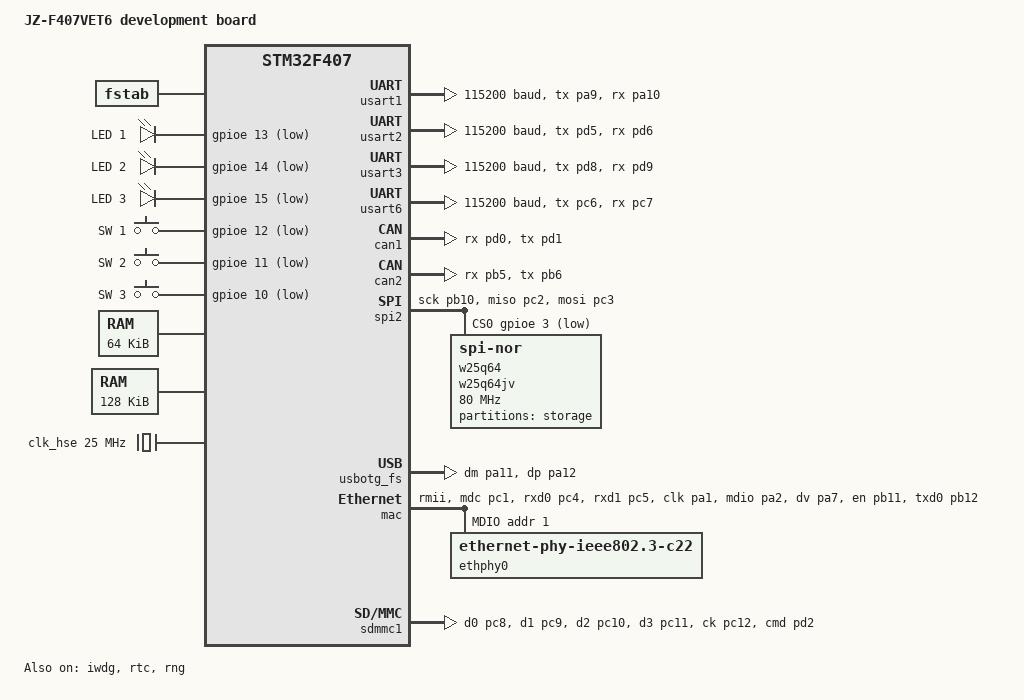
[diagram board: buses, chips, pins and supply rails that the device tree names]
/*
 * Copyright (c) 2017 Linaro Limited
 *
 * SPDX-License-Identifier: Apache-2.0
 */

/dts-v1/;
#include <st/f4/stm32f407Xe.dtsi>
#include <st/f4/stm32f407v(e-g)tx-pinctrl.dtsi>
#include <zephyr/dt-bindings/input/input-event-codes.h>

/ {
	model = "JZ-F407VET6 development board"; 
	compatible = "st,stm32f407";
	
	// USART6 is /dev/ttyUSB0
	// USART6 is /dev/ttyUSB1
	// USART3 is /dev/ttyACM0
	chosen {
		zephyr,console = &usart6;		
		zephyr,shell-uart = &usart6;	
		zephyr,uart-mcumgr= &usart3; 	
		zephyr,sram = &sram0;
		zephyr,flash = &flash0;
		zephyr,code-partition = &boot_partition;
		zephyr,ccm = &ccm0;
		zephyr,canbus = &can2;
	};
	
	aliases {
		usart-modbus  = &usart2;
		usart-rs232   = &usart1;
		usart-tdebug  = &cdc_acm_uart0;
		led0 = &green_led_1;
		led1 = &green_led_2;
		led2 = &green_led_3;

		sw0 = &user_button_1;
		sw1 = &user_button_2;
		sw2 = &user_button_3;
		
		spi-flash0 = &w25q64;

		watchdog0 = &iwdg;
	};

	rtt0: rtt_chan0 {
		compatible = "segger,rtt-uart";
		status = "okay";
	};


	rtt1: rtt_chan1 {
		compatible = "segger,rtt-uart";
		status = "okay";
	};

	fstab {
		compatible = "zephyr,fstab";
		lfs1: lfs1 {
			compatible = "zephyr,fstab,littlefs";
			mount-point = "/lfs:";
			partition = <&storage_partition>;
			automount;
			read-size = <256>;
			prog-size = <256>;
			cache-size = <256>;
			lookahead-size = <256>;
			block-cycles = <512>;
		};
	};
	
	leds {
		compatible = "gpio-leds";
		green_led_1: led_1 {
			gpios = <&gpioe 13 GPIO_ACTIVE_LOW>;
			label = "LED 1";
		};
		green_led_2: led_2 {
			gpios = <&gpioe 14 GPIO_ACTIVE_LOW>;
			label = "LED 2";
		};
		green_led_3: led_3 {
			gpios = <&gpioe 15 GPIO_ACTIVE_LOW>;
			label = "LED 3";
		};
	};

	gpio_keys {
		compatible = "gpio-keys";
		user_button_1: button_1 {
			label = "SW 1";
			gpios = <&gpioe 12 GPIO_ACTIVE_LOW>;
			zephyr,code = <INPUT_KEY_0>;
		};
		user_button_2: button_2 {
			label = "SW 2";
			gpios = <&gpioe 11 GPIO_ACTIVE_LOW>;
			zephyr,code = <INPUT_KEY_1>;
		};
		user_button_3: button_3 {
			label = "SW 3";
			gpios = <&gpioe 10 GPIO_ACTIVE_LOW>;
			zephyr,code = <INPUT_KEY_2>;
		};
	};

};

/ {
	ccm0: memory@10000000 {
		compatible = "zephyr,memory-region", "st,stm32-ccm";
		reg = <0x10000000 DT_SIZE_K(64)>;
		zephyr,memory-region = "CCM";
	};

	sram0: memory@20000000 {
		reg = <0x20000000 DT_SIZE_K(128)>;
	};

	soc {
		flash-controller@40023c00 {
			flash0: flash@8000000 {
				reg = <0x08000000 DT_SIZE_K(512)>;
				partitions {
					compatible = "fixed-partitions";
					#address-cells = <0x1>;
					#size-cells = <0x1>;
						boot_partition: partition@0 {
							label = "boot_partition";
							reg = <0x00000000 DT_SIZE_K(512)>;	// 512k stm32 flash memory
							read-only;
						};
					};
				};			
			};
		};
	};
	
&wwdg {
	status = "disabled";
};

&iwdg {
	status = "okay";
};

&usart1 {	// USART1 is connected to MAX232
	pinctrl-0 = <&usart1_tx_pa9 &usart1_rx_pa10>;
	pinctrl-names = "default";
	current-speed = <115200>;
	status = "okay";
};

&usart2 {	// USART2 is connected to RS485 DE is on PD7
	pinctrl-0 = <&usart2_tx_pd5 &usart2_rx_pd6>;
	pinctrl-names = "default";
	current-speed = <115200>;
	status = "okay";
};

&usart3 {	// USART3 is on PD8(TX) and PD9(RX)	-> Header P5:14 TX and P5:11 RX
	pinctrl-0 = <&usart3_tx_pd8 &usart3_rx_pd9>;
	pinctrl-names = "default";
	current-speed = <115200>;
	status = "okay";
};

&usart6 {	// USART6 is on PC6(TX) and PC7(RX)	-> Header P5:4 TX and P5:3 RX
	pinctrl-0 = <&usart6_tx_pc6 &usart6_rx_pc7>;
	pinctrl-names = "default";
	current-speed = <115200>;
	status = "okay";
};

&can1 {
	pinctrl-0 = <&can1_rx_pd0 &can1_tx_pd1>;
	pinctrl-names = "default";
	// bus-speed = <125000>;
	status = "okay";
};

&can2 {
	pinctrl-0 = <&can2_rx_pb5 &can2_tx_pb6>;
	pinctrl-names = "default";
	// bus-speed = <125000>;
	status = "okay";
};

// W25Q64 Flash 8MB
&spi2 {
	pinctrl-0 = <&spi2_sck_pb10 &spi2_miso_pc2 &spi2_mosi_pc3>;
	pinctrl-names = "default";
	status = "okay";

	cs-gpios = <&gpioe 3 GPIO_ACTIVE_LOW>;
		w25q64: w25q64jv@0 {
		compatible = "jedec,spi-nor";
		reg = <0>;
		spi-max-frequency = <80000000>;
		jedec-id = [ef 40 17];
		size = <0x4000000>;
		has-dpd;
		t-enter-dpd = <3500>;
		t-exit-dpd = <3500>;
	};
};

&w25q64 {
    partitions {
        compatible = "fixed-partitions";
        #address-cells = <1>;
        #size-cells = <1>;

		/* 8 MB partition */
		storage_partition: partition@0 {
			label = "storage";
			reg = <0x00000000 DT_SIZE_M(8)>;
		}; 
    };
};

&clk_lsi {
	status = "okay";
};

&clk_lse {
	status = "okay";
};

&clk_hse {
	clock-frequency = <DT_FREQ_M(25)>;
	status = "okay";
};

&pll {
	div-m = <25>;
	mul-n = <336>;
	div-p = <2>;
	div-q = <7>;
	clocks = <&clk_hse>;
	status = "okay";
};

&rcc {
	clocks = <&pll>;
	clock-frequency = <DT_FREQ_M(168)>;
	ahb-prescaler = <1>;
	apb1-prescaler = <4>;
	apb2-prescaler = <2>;
};

&rtc {
	clocks = <&rcc STM32_CLOCK_BUS_APB1 0x10000000>,
		 //<&rcc STM32_SRC_LSI RTC_SEL(2)>;
		 <&rcc STM32_SRC_LSE RTC_SEL(1)>;
	status = "okay";

	backup_regs {
		status = "okay";
	};
};

zephyr_udc0: &usbotg_fs {
	pinctrl-0 = <&usb_otg_fs_dm_pa11 &usb_otg_fs_dp_pa12>;
	num-bidir-endpoints = <4>;
	ram-size = <4096>;
	pinctrl-names = "default";
	status = "okay";
	
	cdc_acm_uart0: cdc_acm_uart0 {
		compatible = "zephyr,cdc-acm-uart";
	};
};
&mac {
	status = "okay";
	pinctrl-0 = <
			&eth_mdc_pc1
		    &eth_rxd0_pc4		
		    &eth_rxd1_pc5
		    &eth_ref_clk_pa1
		    &eth_mdio_pa2
		    &eth_crs_dv_pa7
		    &eth_tx_en_pb11
		    &eth_txd0_pb12	
		    &eth_txd1_pb13>;	
	pinctrl-names = "default";
	phy-connection-type = "rmii";
	mdio {
		compatible = "st,stm32f4-mdio";
		#address-cells = <1>;
		#size-cells = <0>;
		ethphy0: ethernet-phy@1 {
			compatible = "ethernet-phy-ieee802.3-c22";
			reg = <1>;
		};
	};
};

&rng {
	status = "okay";
};

&sdmmc1 {
	status = "okay";

	pinctrl-0 = <&sdio_d0_pc8
		     &sdio_d1_pc9
		     &sdio_d2_pc10
		     &sdio_d3_pc11
		     &sdio_ck_pc12
		     &sdio_cmd_pd2>;

	pinctrl-names = "default";

	cd-gpios = <&gpiod 3 GPIO_ACTIVE_LOW>;
};

&die_temp {
	status = "disabled";
};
